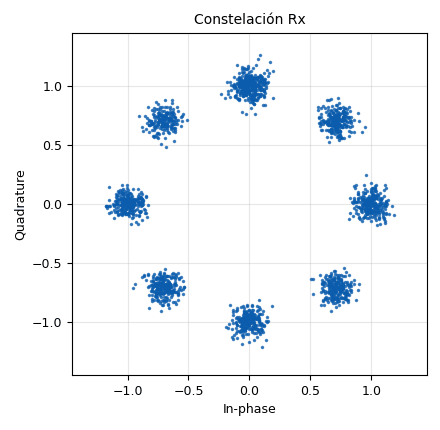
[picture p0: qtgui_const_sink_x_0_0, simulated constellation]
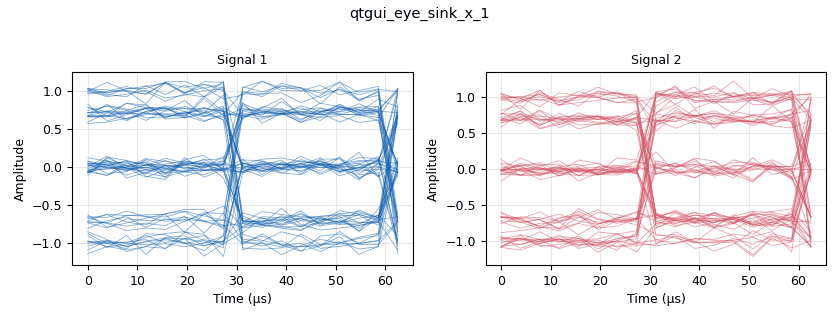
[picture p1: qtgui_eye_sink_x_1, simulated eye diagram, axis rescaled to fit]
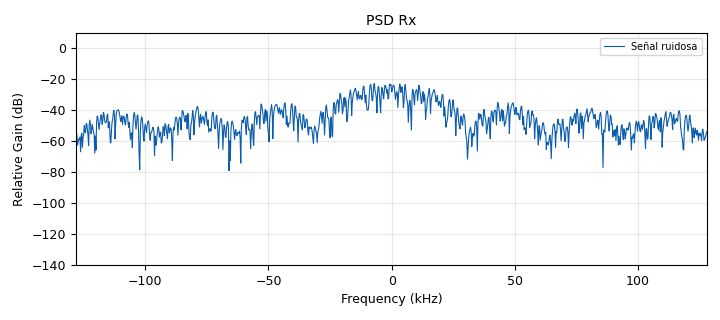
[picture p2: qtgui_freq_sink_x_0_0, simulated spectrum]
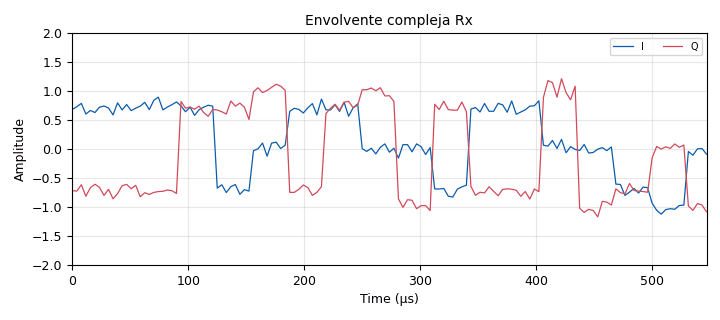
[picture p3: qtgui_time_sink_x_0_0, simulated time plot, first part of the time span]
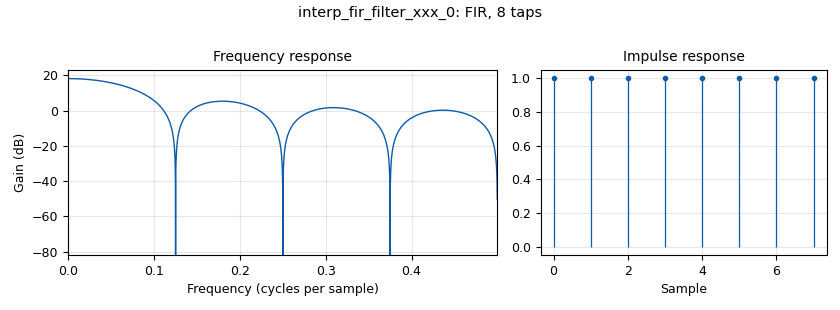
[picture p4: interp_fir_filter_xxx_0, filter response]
options:
  parameters:
    comment: GRC para analizar ruido AWGN en modulaciones basadas en constelaciones
    description: GRC con AWGN para OOK ASK BPSK QPSK 8PSK y 16QAM
    generate_options: qt_gui
    id: Modulaciones_basadas_en_constelaciones_AWGN
    output_language: python
    title: Modulaciones_basadas_en_constelaciones_AWGN
  states: {}

blocks:
- name: M
  id: variable
  parameters:
    value: len(tabla_de_verdad_constelacion)
  states: {}
- name: Rb
  id: variable
  parameters:
    value: Rs*bps
  states: {}
- name: Rs
  id: variable
  parameters:
    value: '32000'
  states: {}
- name: Sps
  id: variable
  parameters:
    value: '8'
  states: {}
- name: bps
  id: variable
  parameters:
    value: int(math.log(M,2))
  states: {}
- name: constelacion_psk
  id: variable_constellation
  parameters:
    const_points: '[-1-1j, -1+1j, 1+1j, 1-1j]'
    dims: '1'
    normalization: digital.constellation.AMPLITUDE_NORMALIZATION
    precision: '8'
    rot_sym: '4'
    sym_map: '[0, 1, 3, 2]'
    type: calcdist
  states: {}
- name: h
  id: variable
  parameters:
    value: '[1]*Sps'
  states: {}
- name: noise_amp
  id: variable_qtgui_range
  parameters:
    label: Amplitud de ruido AWGN
    start: '0'
    step: '0.01'
    stop: '0.7'
    value: '0.3'
  states: {state: disabled}
- name: noise_amp
  id: variable
  parameters:
    value: '0'
  states: {state: disabled}
- name: noise_amp
  id: variable_qtgui_range
  parameters:
    label: Amplitud de ruido AWGN
    start: '0'
    step: '0.01'
    stop: '0.5'
    value: '0.10'
  states: {}
- name: samp_rate
  id: variable
  parameters:
    value: Rs*Sps
  states: {}
- name: tabla_de_verdad_constelacion
  id: variable
  parameters:
    comment: Cambie esta tabla para OOK ASK BPSK QPSK 8PSK o 16QAM
    value: (1+0j, 0.707+0.707j, 0+1j, -0.707+0.707j, -1+0j, -0.707-0.707j, 0-1j, 0.707-0.707j)
  states: {}
- name: analog_noise_source_x_0
  id: analog_noise_source_x
  parameters:
    amp: noise_amp
    noise_type: analog.GR_GAUSSIAN
    seed: '0'
    type: complex
  states: {}
- name: analog_random_source_x_0
  id: analog_random_source_x
  parameters:
    max: '2'
    min: '0'
    num_samps: '1000'
    repeat: 'True'
    type: byte
  states: {}
- name: blocks_add_xx_0
  id: blocks_add_xx
  parameters:
    type: complex
  states: {}
- name: blocks_pack_k_bits_bb_0
  id: blocks_pack_k_bits_bb
  parameters:
    k: '8'
  states: {}
- name: blocks_packed_to_unpacked_xx_0
  id: blocks_packed_to_unpacked_xx
  parameters:
    bits_per_chunk: bps
    endianness: gr.GR_MSB_FIRST
    type: byte
  states: {}
- name: blocks_unpack_k_bits_bb_0
  id: blocks_unpack_k_bits_bb
  parameters:
    k: '8'
  states: {}
- name: digital_chunks_to_symbols_xx_0
  id: digital_chunks_to_symbols_xx
  parameters:
    dimension: '1'
    in_type: byte
    out_type: complex
    symbol_table: tabla_de_verdad_constelacion
  states: {}
- name: digital_constellation_decoder_cb_0
  id: digital_constellation_decoder_cb
  parameters:
    constellation: constelacion_psk
  states: {}
- name: fec_ber_bf_0
  id: fec_ber_bf
  parameters:
    test_mode: 'False'
  states: {}
- name: import_0
  id: import
  parameters:
    imports: import math
  states: {}
- name: interp_fir_filter_xxx_0
  id: interp_fir_filter_xxx
  parameters:
    interp: Sps
    taps: h
    type: ccf
  states: {}
- name: probe_ber
  id: blocks_probe_signal_x
  parameters:
    type: float
  states: {}
- name: qtgui_const_sink_x_0
  id: qtgui_const_sink_x
  parameters:
    autoscale: 'True'
    grid: 'True'
    label1: '"Señal ruidosa"'
    legend: 'False'
    name: '"Constelación Rx"'
    size: '2048'
    type: complex
  states: {state: disabled}
- name: qtgui_const_sink_x_0_0
  id: qtgui_const_sink_x
  parameters:
    autoscale: 'True'
    grid: 'True'
    label1: '"Señal ruidosa"'
    legend: 'False'
    name: '"Constelación Rx"'
    size: '2048'
    type: complex
  states: {}
- name: qtgui_eye_sink_x_0
  id: qtgui_eye_sink_x
  parameters:
    samp_per_symbol: Sps
    size: '1024'
    srate: samp_rate
    type: complex
  states: {state: disabled}
- name: qtgui_eye_sink_x_1
  id: qtgui_eye_sink_x
  parameters:
    samp_per_symbol: Sps
    size: '1024'
    srate: samp_rate
    type: complex
  states: {}
- name: qtgui_freq_sink_x_0
  id: qtgui_freq_sink_x
  parameters:
    bw: samp_rate
    fc: '0'
    fftsize: '1024'
    grid: 'True'
    label1: Señal ruidosa
    name: '"PSD Rx"'
    type: complex
  states: {state: disabled}
- name: qtgui_freq_sink_x_0_0
  id: qtgui_freq_sink_x
  parameters:
    bw: samp_rate
    fc: '0'
    fftsize: '1024'
    grid: 'True'
    label1: Señal ruidosa
    name: '"PSD Rx"'
    type: complex
  states: {}
- name: qtgui_time_sink_x_0
  id: qtgui_time_sink_x
  parameters:
    grid: 'True'
    label1: I
    label2: Q
    name: '"Envolvente compleja Rx"'
    size: '2048'
    srate: samp_rate
    type: complex
    ymax: '2'
    ymin: '-2'
  states: {state: disabled}
- name: qtgui_time_sink_x_0_0
  id: qtgui_time_sink_x
  parameters:
    grid: 'True'
    label1: I
    label2: Q
    name: '"Envolvente compleja Rx"'
    size: '2048'
    srate: samp_rate
    type: complex
    ymax: '2'
    ymin: '-2'
  states: {}
- name: throttle_0
  id: blocks_throttle2
  parameters:
    samples_per_second: samp_rate
    type: complex
  states: {}

connections:
- [analog_noise_source_x_0, '0', blocks_add_xx_0, '1']
- [analog_random_source_x_0, '0', blocks_pack_k_bits_bb_0, '0']
- [blocks_add_xx_0, '0', digital_constellation_decoder_cb_0, '0']
- [blocks_add_xx_0, '0', qtgui_const_sink_x_0, '0']
- [blocks_add_xx_0, '0', qtgui_const_sink_x_0_0, '0']
- [blocks_add_xx_0, '0', qtgui_eye_sink_x_0, '0']
- [blocks_add_xx_0, '0', qtgui_eye_sink_x_1, '0']
- [blocks_add_xx_0, '0', qtgui_freq_sink_x_0, '0']
- [blocks_add_xx_0, '0', qtgui_freq_sink_x_0_0, '0']
- [blocks_add_xx_0, '0', qtgui_time_sink_x_0, '0']
- [blocks_add_xx_0, '0', qtgui_time_sink_x_0_0, '0']
- [blocks_pack_k_bits_bb_0, '0', blocks_packed_to_unpacked_xx_0, '0']
- [blocks_packed_to_unpacked_xx_0, '0', digital_chunks_to_symbols_xx_0, '0']
- [blocks_packed_to_unpacked_xx_0, '0', fec_ber_bf_0, '0']
- [blocks_unpack_k_bits_bb_0, '0', fec_ber_bf_0, '1']
- [digital_chunks_to_symbols_xx_0, '0', interp_fir_filter_xxx_0, '0']
- [digital_constellation_decoder_cb_0, '0', blocks_unpack_k_bits_bb_0, '0']
- [fec_ber_bf_0, '0', probe_ber, '0']
- [interp_fir_filter_xxx_0, '0', throttle_0, '0']
- [throttle_0, '0', blocks_add_xx_0, '0']

metadata:
  file_format: 1
  grc_version: 3.10.12.0
